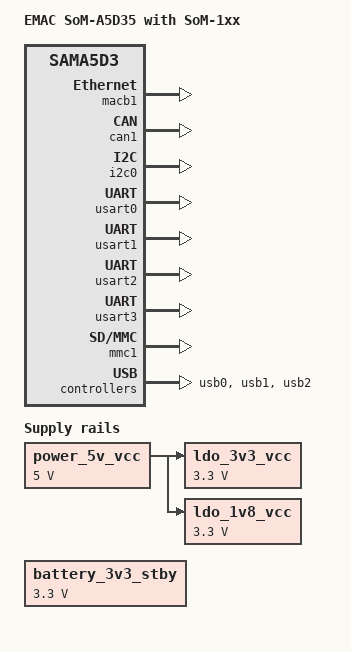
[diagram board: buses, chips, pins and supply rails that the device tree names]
// SPDX-License-Identifier: GPL-2.0-or-later
/*
 * som-a5d35-1xx.dts - Device Tree file for the SOM-A5D35 w/ 1xx EMAC Carriers.
 *
 * Copyright (C) 2023 EMAC Inc.
 *
 */

/dts-v1/;
#include "som-a5d35.dtsi"
#include <dt-bindings/gpio/gpio.h>

/ {
	model = "EMAC SoM-A5D35 with SoM-1xx";
	compatible = "emac,soma5d35", "atmel,sama5d35", "atmel,sama5d3", "atmel,sama5";

	regulators {
		power_5v_vcc: power_5v_vcc@5 {
			compatible = "regulator-fixed";
			reg = <5>;
			regulator-name = "POWER";
			regulator-min-microvolt = <5000000>;
			regulator-max-microvolt = <5000000>;
			regulator-always-on;
		};
		ldo_3v3_vcc: ldo_3v3_vcc@6 {
			compatible = "regulator-fixed";
			reg = <6>;
			regulator-name = "3V3_LDO";
			regulator-min-microvolt = <3300000>;
			regulator-max-microvolt = <3300000>;
			regulator-always-on;
			vin-supply = <&power_5v_vcc>;
		};
		ldo_1v8_vcc: ldo_1v8_vcc@7 {
			compatible = "regulator-fixed";
			reg = <7>;
			regulator-name = "1V8_LDO";
			regulator-min-microvolt = <3300000>;
			regulator-max-microvolt = <3300000>;
			regulator-always-on;
			vin-supply = <&power_5v_vcc>;
		};
		battery_3v3_stby: battery_3v3_stby@8 {
			compatible = "regulator-fixed";
			reg = <8>;
			regulator-name = "BATTERY";
			regulator-min-microvolt = <3300000>;
			regulator-max-microvolt = <3300000>;
			regulator-always-on;
		};
		rail_3v3_vcc@2 {
			vin-supply = <&ldo_3v3_vcc>;
		};
		rail_3v3_stby@3 {
			vin-supply = <&battery_3v3_stby>;
		};
	};

	audio_center: sound {
		compatible = "simple-audio-card";
		status = "disabled";
		simple-audio-card,name = "sgtl5000";
		simple-audio-card,format = "i2s";
		simple-audio-card,widgets =
			"Line", "Line In",
			"Line", "Line Out";
		simple-audio-card,routing =
			"Line In", "Capture",
			"Line Out", "Playback";

		cpu_master: simple-audio-card,cpu {
			sound-dai = <&ssc1>;
		};
	};

};

&macb1 {
    status = "okay";
};
&can1 {
    status = "okay";
};
&i2c0 {
	status = "okay";
};
&usart0 {
    status = "okay";
};
&usart1 {
    status = "okay";
};
&usart2 {
    status = "okay";
};
&usart3 {
    status = "okay";
};
&mmc1 {
    pinctrl-names = "default";
	pinctrl-0 = <&pinctrl_mmc1_clk_cmd_dat0 &pinctrl_mmc1_dat1_3>;
	status = "okay";
	slot@0 {
		reg = <0>;
		bus-width = <4>;
		cd-gpios = <&pioC 13 GPIO_ACTIVE_LOW>;
	};
};

&usb0 {
    status = "okay";
};
&usb1 {
    status = "okay";
};
&usb2 {
    status = "okay";
};
